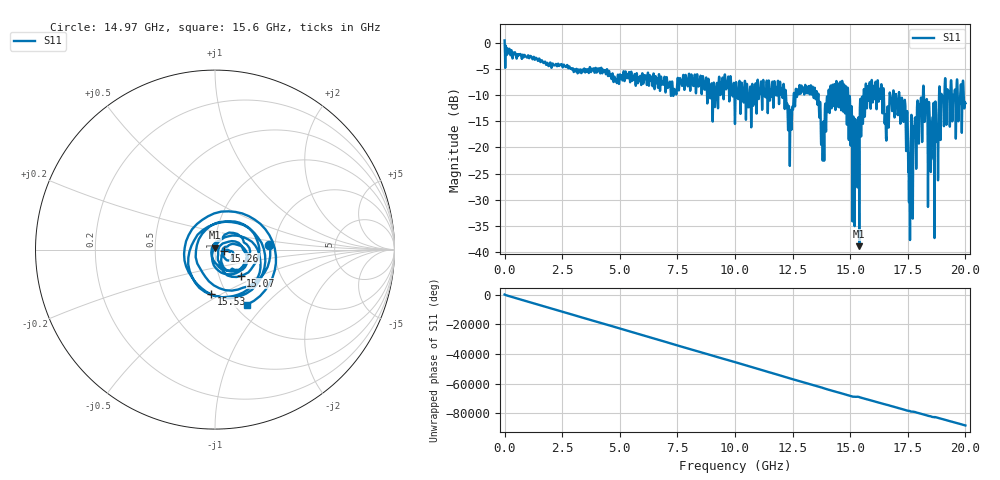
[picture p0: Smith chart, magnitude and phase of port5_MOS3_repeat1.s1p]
! MS46122B
! 2250307/22442219
! 7/24/2025 7:50:32 AM
! C:\USERS\SPARKY\DOCUMENTS\VNA_DATA\JULY24_2025\3K\PORT5_MOS3_REPEAT1.S1P
! CHANNEL.1
! TR.MEASUREMENT
! RAW.DATA
# GHZ S RI R 50.0
! FREQ.GHZ  S11RE  S11IM
!; PortSelection: Port_1
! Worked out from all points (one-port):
!   10001 points, 1 MHz to 20 GHz, reference 50 ohm
!   lowest |S11| = -38.9 dB at 15.39 GHz (marker M1), VSWR 1.02, Z = 49.8 + j1.11 ohm
!   |S11| at or under -10 dB: 14.91 GHz to 15.58 GHz (669.2 MHz wide, 4.39 % of centre); 17.14 GHz to 18.16 GHz (1.02 GHz wide, 5.78 % of centre); 18.2 GHz to 18.85 GHz (654.7 MHz wide, 3.53 % of centre) (the widest 3 of 78)
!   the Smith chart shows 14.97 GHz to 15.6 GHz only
!   S11 on the Smith chart (normalised r, x): 14.97 GHz: 1.86, +0.12; 15.07 GHz: 1.27, -0.38; 15.26 GHz: 1.11, -0.01; 15.53 GHz: 0.85, -0.45; 15.6 GHz: 1.14, -0.80
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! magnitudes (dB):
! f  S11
! 1 MHz  0.4
! 2.501 GHz  -4.4
! 5.001 GHz  -6.2
! 7.501 GHz  -7.1
! 10 GHz  -15.5
! 12.03 GHz  -8.7
! 12.37 GHz  -20.3
! 12.5 GHz  -12.4
! 13.38 GHz  -8.4
! 13.81 GHz  -22.5
! 14.23 GHz  -8.1
! 14.97 GHz  -10.4
! 15 GHz  -12.6
! 15.07 GHz  -13.8
! 15.26 GHz  -25.7
! 15.39 GHz  -38.9
! 15.53 GHz  -12.0
! 15.6 GHz  -9.0
! 16.27 GHz  -8.9
! 16.58 GHz  -16.2
! 16.8 GHz  -11.3
! 17.3 GHz  -14.6
! 17.5 GHz  -17.0
! 17.63 GHz  -18.0
! 18.11 GHz  -15.8
! 18.57 GHz  -15.2
! 19.05 GHz  -11.8
! 20 GHz  -11.6
